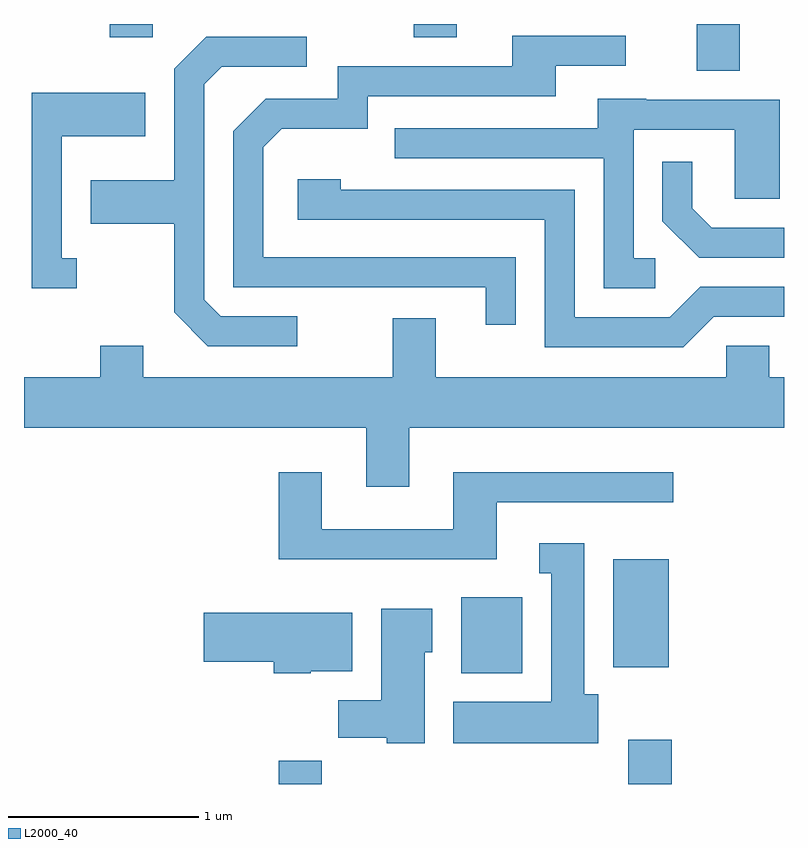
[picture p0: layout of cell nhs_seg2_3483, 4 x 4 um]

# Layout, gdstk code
import gdstk
lib = gdstk.Library(unit=1e-6, precision=1e-09)
def R(c, l, rs):  # rectangles x0, y0, x1, y1
    for r in rs: c.add(gdstk.rectangle(r[:2], r[2:], *l))
def P(c, l, *ps):  # polygons
    for p in ps: c.add(gdstk.Polygon(p, *l))
L2000_40 = (2000, 40)

nhs_seg2_3483 = lib.new_cell('nhs_seg2_3483')
R(nhs_seg2_3483, L2000_40, [(288.951,1019.802,289.179,1019.924), (290.791,1019.802,291.019,1020.034), (289.911,1020.386,290.234,1020.784), (290.711,1020.416,291.004,1020.984), (291.151,1023.556,291.379,1023.802), (288.061,1023.731,288.289,1023.802), (289.661,1023.731,289.889,1023.802)])
P(nhs_seg2_3483, L2000_40, [(290.199,1022.574),(288.869,1022.574),(288.869,1023.154),(288.967,1023.251),(289.419,1023.251),(289.419,1023.421),(290.409,1023.421),(290.409,1023.581),(290.778,1023.581),(290.778,1023.739),(290.181,1023.739),(290.181,1023.579),(289.261,1023.579),(289.261,1023.409),(288.884,1023.409),(288.711,1023.237),(288.711,1022.416),(290.041,1022.416),(290.041,1022.218),(290.199,1022.218)],
  [(289.048,1022.264),(288.647,1022.264),(288.559,1022.352),(288.559,1023.484),(288.652,1023.576),(289.098,1023.576),(289.098,1023.734),(288.569,1023.734),(288.401,1023.567),(288.401,1022.979),(287.961,1022.979),(287.961,1022.751),(288.401,1022.751),(288.401,1022.284),(288.579,1022.106),(289.048,1022.106)],
  [(287.888,1022.569),(287.809,1022.569),(287.809,1023.211),(288.249,1023.211),(288.249,1023.439),(287.651,1023.439),(287.651,1022.411),(287.888,1022.411)],
  [(290.933,1022.569),(290.819,1022.569),(290.819,1023.246),(291.351,1023.246),(291.351,1022.881),(291.589,1022.881),(291.589,1023.404),(290.885,1023.404),(290.885,1023.409),(290.631,1023.409),(290.631,1023.254),(289.563,1023.254),(289.563,1023.096),(290.661,1023.096),(290.661,1022.411),(290.933,1022.411)],
  [(291.611,1022.729),(291.232,1022.729),(291.129,1022.832),(291.129,1023.078),(290.971,1023.078),(290.971,1022.764),(291.164,1022.571),(291.611,1022.571)],
  [(291.242,1022.261),(291.611,1022.261),(291.611,1022.419),(291.169,1022.419),(291.009,1022.259),(290.509,1022.259),(290.509,1022.929),(289.279,1022.929),(289.279,1022.984),(289.051,1022.984),(289.051,1022.771),(290.351,1022.771),(290.351,1022.101),(291.082,1022.101)],
  [(289.639,1021.676),(291.611,1021.676),(291.611,1021.944),(291.534,1021.944),(291.534,1022.109),(291.306,1022.109),(291.306,1021.944),(289.779,1021.944),(289.779,1022.254),(289.551,1022.254),(289.551,1021.944),(288.239,1021.944),(288.239,1022.109),(288.011,1022.109),(288.011,1021.944),(287.611,1021.944),(287.611,1021.676),(289.411,1021.676),(289.411,1021.366),(289.639,1021.366)],
  [(290.099,1021.286),(291.028,1021.286),(291.028,1021.444),(289.871,1021.444),(289.871,1021.144),(289.179,1021.144),(289.179,1021.444),(288.951,1021.444),(288.951,1020.986),(290.099,1020.986)],
  [(290.634,1020.274),(290.559,1020.274),(290.559,1021.069),(290.323,1021.069),(290.323,1020.911),(290.386,1020.911),(290.386,1020.234),(289.871,1020.234),(289.871,1020.016),(290.634,1020.016)],
  [(289.719,1020.496),(289.759,1020.496),(289.759,1020.724),(289.491,1020.724),(289.491,1020.244),(289.266,1020.244),(289.266,1020.046),(289.521,1020.046),(289.521,1020.016),(289.719,1020.016)],
  [(289.12,1020.396),(289.339,1020.396),(289.339,1020.704),(288.556,1020.704),(288.556,1020.446),(288.926,1020.446),(288.926,1020.386),(289.12,1020.386)])

lib.write_gds('nhs_seg2_3483.gds')
